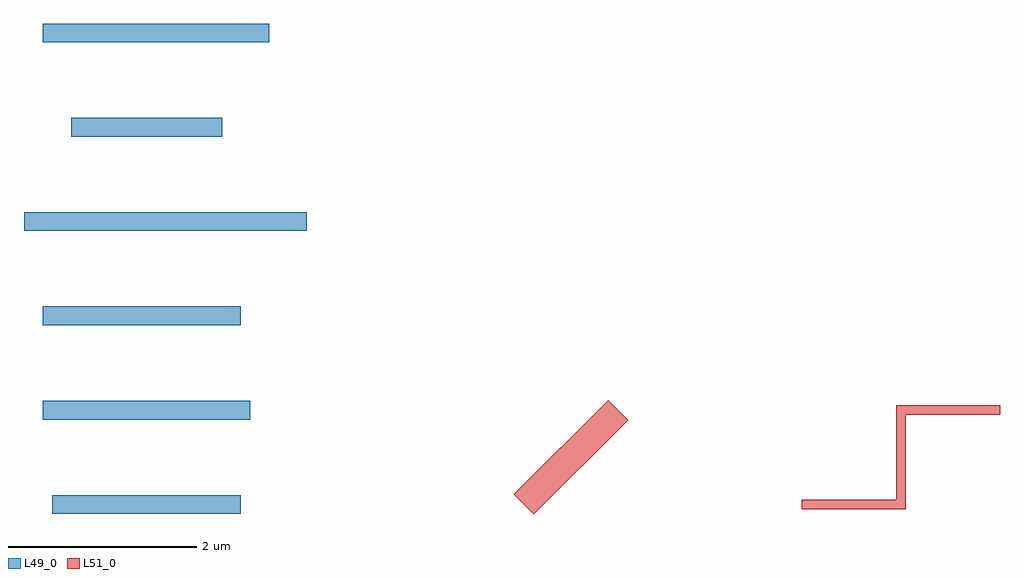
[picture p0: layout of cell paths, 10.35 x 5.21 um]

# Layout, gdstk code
import gdstk
lib = gdstk.Library(unit=1e-6, precision=1e-09)
L49_0 = (49, 0)
L51_0 = (51, 0)

paths = lib.new_cell('paths')
paths.add(gdstk.FlexPath([(0,0),(2,0)], 0.2, ends="flush", simple_path=True, layer=49, datatype=0))  # L49_0
paths.add(gdstk.FlexPath([(0,1),(2,1)], 0.2, ends="extended", simple_path=True, layer=49, datatype=0))  # L49_0
paths.add(gdstk.FlexPath([(0,2),(2,2)], 0.2, ends=(0.1, 0), simple_path=True, layer=49, datatype=0))  # L49_0
paths.add(gdstk.FlexPath([(0,3),(2,3)], 0.2, ends=(0.3, 0.7), simple_path=True, layer=49, datatype=0))  # L49_0
paths.add(gdstk.FlexPath([(0,4),(2,4)], 0.2, ends=(-0.2, -0.2), simple_path=True, layer=49, datatype=0))  # L49_0
paths.add(gdstk.FlexPath([(0,5),(2,5)], 0.2, ends=(0.1, 0.3), simple_path=True, layer=49, datatype=0))  # L49_0
paths.add(gdstk.FlexPath([(5,0),(6,1)], 0.3, ends="flush", simple_path=True, layer=51, datatype=0))  # L51_0
paths.add(gdstk.FlexPath([(8,0),(9,0),(9,1),(10,1)], 0.1, ends="extended", simple_path=True, layer=51, datatype=0))  # L51_0
paths.add(gdstk.FlexPath([(8,5),(9,5)], 0, ends="flush", simple_path=True, layer=51, datatype=0))  # L51_0

lib.write_gds('paths.gds')
